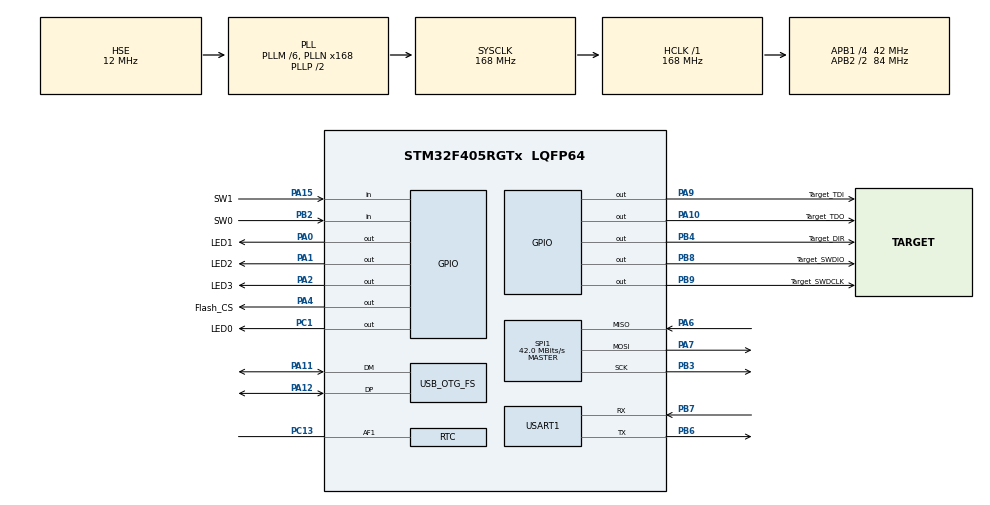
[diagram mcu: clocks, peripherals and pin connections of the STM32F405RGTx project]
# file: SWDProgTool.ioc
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FATFS._CODE_PAGE=936
FATFS._LFN_UNICODE=0
FATFS._USE_LFN=3
Mcu.Family=STM32F4
Mcu.Name=STM32F405RGTx
Mcu.Package=LQFP64
NVIC.OTG_FS_IRQn=true\:0\:0\:false\:false\:true\:false
NVIC.PriorityGroup=NVIC_PRIORITYGROUP_4
PA0-WKUP.GPIO_Label=LED1
PA0-WKUP.Signal=GPIO_Output
PA1.GPIO_Label=LED2
PA1.Signal=GPIO_Output
PA10.GPIO_Label=Target_TDO
PA10.Signal=GPIO_Output
PA11.Mode=Device_Only
PA11.Signal=USB_OTG_FS_DM
PA12.Mode=Device_Only
PA12.Signal=USB_OTG_FS_DP
PA13.Mode=Serial_Wire
PA13.Signal=SYS_JTMS-SWDIO
PA14.Mode=Serial_Wire
PA14.Signal=SYS_JTCK-SWCLK
PA15.GPIO_Label=SW1
PA15.Signal=GPIO_Input
PA2.GPIO_Label=LED3
PA2.Signal=GPIO_Output
PA4.GPIO_Label=Flash_CS
PA4.GPIO_PuPd=GPIO_PULLUP
PA4.GPIO_Speed=GPIO_SPEED_FREQ_VERY_HIGH
PA4.PinState=GPIO_PIN_SET
PA4.Signal=GPIO_Output
PA6.Mode=Full_Duplex_Master
PA6.Signal=SPI1_MISO
PA7.Mode=Full_Duplex_Master
PA7.Signal=SPI1_MOSI
PA9.GPIO_Label=Target_TDI
PA9.Signal=GPIO_Output
PB2.GPIO_Label=SW0
PB2.Signal=GPIO_Input
PB3.Mode=Full_Duplex_Master
PB3.Signal=SPI1_SCK
PB4.GPIO_Label=Target_DIR
PB4.GPIO_PuPd=GPIO_PULLUP
PB4.PinState=GPIO_PIN_SET
PB4.Signal=GPIO_Output
PB6.Mode=Asynchronous
PB6.Signal=USART1_TX
PB7.Mode=Asynchronous
PB7.Signal=USART1_RX
PB8.GPIO_Label=Target_SWDIO
PB8.GPIO_PuPd=GPIO_PULLUP
PB8.Signal=GPIO_Output
PB9.GPIO_Label=Target_SWDCLK
PB9.GPIO_PuPd=GPIO_PULLDOWN
PB9.Signal=GPIO_Output
PC1.GPIO_Label=LED0
PC1.Signal=GPIO_Output
PC13-ANTI_TAMP.Mode=Calibration_1Hz
PC13-ANTI_TAMP.Signal=RTC_AF1
PC14-OSC32_IN.Mode=LSE-External-Oscillator
PC14-OSC32_IN.Signal=RCC_OSC32_IN
PC15-OSC32_OUT.Mode=LSE-External-Oscillator
PC15-OSC32_OUT.Signal=RCC_OSC32_OUT
PH0-OSC_IN.Mode=HSE-External-Oscillator
PH0-OSC_IN.Signal=RCC_OSC_IN
PH1-OSC_OUT.Mode=HSE-External-Oscillator
PH1-OSC_OUT.Signal=RCC_OSC_OUT
ProjectManager.HeapSize=0xA000
ProjectManager.StackSize=0x5000
ProjectManager.TargetToolchain=MDK-ARM V5
RCC.48MHZClocksFreq_Value=48000000
RCC.AHBFreq_Value=168000000
RCC.APB1CLKDivider=RCC_HCLK_DIV4
RCC.APB1Freq_Value=42000000
RCC.APB1TimFreq_Value=84000000
RCC.APB2CLKDivider=RCC_HCLK_DIV2
RCC.APB2Freq_Value=84000000
RCC.APB2TimFreq_Value=168000000
RCC.CortexFreq_Value=168000000
RCC.HCLKFreq_Value=168000000
RCC.HSE_VALUE=12000000
RCC.HSI_VALUE=16000000
RCC.PLLM=6
RCC.PLLN=168
RCC.PLLQ=7
RCC.RCC_MCO1Source=RCC_MCO1SOURCE_LSE
RCC.RCC_RTC_Clock_SourceVirtual=RCC_RTCCLKSOURCE_LSE
RCC.RCC_RTC_Clock_Source_FROM_HSE=RCC_RTCCLKSOURCE_HSE_DIV30
RCC.SYSCLKFreq_VALUE=168000000
RCC.SYSCLKSource=RCC_SYSCLKSOURCE_PLLCLK
RCC.VCOOutputFreq_Value=336000000
SPI1.BaudRatePrescaler=SPI_BAUDRATEPRESCALER_2
SPI1.CalculateBaudRate=42.0 MBits/s
SPI1.Direction=SPI_DIRECTION_2LINES
SPI1.Mode=SPI_MODE_MASTER
SPI1.VirtualType=VM_MASTER
USART1.VirtualMode=VM_ASYNC
USB_DEVICE.CLASS_NAME_FS=MSC
USB_DEVICE.VirtualMode-MSC_FS=Msc
USB_DEVICE.VirtualModeFS=Msc_FS
USB_OTG_FS.VirtualMode=Device_Only
USB_OTG_FS.vbus_sensing_enable=DISABLE
VP_CRC_VS_CRC.Mode=CRC_Activate
VP_FATFS_VS_Generic.Mode=User_defined
VP_RNG_VS_RNG.Mode=RNG_Activate
VP_RTC_VS_RTC_Activate.Mode=RTC_Enabled
VP_USB_DEVICE_VS_USB_DEVICE_MSC_FS.Mode=MSC_FS
board=SWDProgTool

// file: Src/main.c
/**
  ******************************************************************************
  * File Name          : main.c
  * Description        : Main program body
  ******************************************************************************
  * This notice applies to any and all portions of this file
  * that are not between comment pairs USER CODE BEGIN and
  * USER CODE END. Other portions of this file, whether
  * inserted by the user or by software development tools
  * are owned by their respective copyright owners.
  *
  * Copyright (c) 2017 STMicroelectronics International N.V.
  * All rights reserved.
  *
  * Redistribution and use in source and binary forms, with or without
  * modification, are permitted, provided that the following conditions are met:
  *
  * 1. Redistribution of source code must retain the above copyright notice,
  *    this list of conditions and the following disclaimer.
  * 2. Redistributions in binary form must reproduce the above copyright notice,
  *    this list of conditions and the following disclaimer in the documentation
  *    and/or other materials provided with the distribution.
  * 3. Neither the name of STMicroelectronics nor the names of other
  *    contributors to this software may be used to endorse or promote products
  *    derived from this software without specific written permission.
  * 4. This software, including modifications and/or derivative works of this
  *    software, must execute solely and exclusively on microcontroller or
  *    microprocessor devices manufactured by or for STMicroelectronics.
  * 5. Redistribution and use of this software other than as permitted under
  *    this license is void and will automatically terminate your rights under
  *    this license.
  *
  * THIS SOFTWARE IS PROVIDED BY STMICROELECTRONICS AND CONTRIBUTORS "AS IS"
  * AND ANY EXPRESS, IMPLIED OR STATUTORY WARRANTIES, INCLUDING, BUT NOT
  * LIMITED TO, THE IMPLIED WARRANTIES OF MERCHANTABILITY, FITNESS FOR A
  * PARTICULAR PURPOSE AND NON-INFRINGEMENT OF THIRD PARTY INTELLECTUAL PROPERTY
  * RIGHTS ARE DISCLAIMED TO THE FULLEST EXTENT PERMITTED BY LAW. IN NO EVENT
  * SHALL STMICROELECTRONICS OR CONTRIBUTORS BE LIABLE FOR ANY DIRECT, INDIRECT,
  * INCIDENTAL, SPECIAL, EXEMPLARY, OR CONSEQUENTIAL DAMAGES (INCLUDING, BUT NOT
  * LIMITED TO, PROCUREMENT OF SUBSTITUTE GOODS OR SERVICES; LOSS OF USE, DATA,
  * OR PROFITS; OR BUSINESS INTERRUPTION) HOWEVER CAUSED AND ON ANY THEORY OF
  * LIABILITY, WHETHER IN CONTRACT, STRICT LIABILITY, OR TORT (INCLUDING
  * NEGLIGENCE OR OTHERWISE) ARISING IN ANY WAY OUT OF THE USE OF THIS SOFTWARE,
  * EVEN IF ADVISED OF THE POSSIBILITY OF SUCH DAMAGE.
  *
  ******************************************************************************
  */
#include "main.h"
#include "stm32f4xx_hal.h"
#include "fatfs.h"
#include "usb_device.h"

/* USER CODE BEGIN Includes */
#include "sfud.h"
#include "command.h"
#include "target_internal.h"
#include "cortexm.h"
/* USER CODE END Includes */

CRC_HandleTypeDef hcrc;

RNG_HandleTypeDef hrng;

RTC_HandleTypeDef hrtc;

SPI_HandleTypeDef hspi1;

UART_HandleTypeDef huart1;

/* USER CODE BEGIN PV */
/* Private variables ---------------------------------------------------------*/
sfud_flash *hflash1;
/* USER CODE END PV */

void SystemClock_Config(void);
static void MX_GPIO_Init(void);
static void MX_RNG_Init(void);
static void MX_SPI1_Init(void);
static void MX_USART1_UART_Init(void);
static void MX_RTC_Init(void);
static void MX_CRC_Init(void);

/* USER CODE BEGIN PFP */
/* Private function prototypes -----------------------------------------------*/
uint8_t prog_stm32_use_fatfs(uint32_t onceProgSize);
uint8_t gen_bin_file(void);
/* USER CODE END PFP */

int main(void)
{

  /* MCU Configuration----------------------------------------------------------*/

  /* Reset of all peripherals, Initializes the Flash interface and the Systick. */
  HAL_Init();

  /* Configure the system clock */
  SystemClock_Config();

  /* Initialize all configured peripherals */
  MX_GPIO_Init();
  MX_RNG_Init();
  MX_SPI1_Init();
  MX_USART1_UART_Init();
  MX_RTC_Init();
  MX_CRC_Init();
  //MX_USB_DEVICE_Init();
  MX_FATFS_Init();

  /* USER CODE BEGIN 2 */

	sfud_init();
	hflash1 = sfud_get_device(0);

	//sfud_erase_write(hflash1, 0, 0x1000, "Hello, World!");
	//sfud_chip_erase(hflash1);

	printf("\nErase Block Size is %d\n",hflash1->chip.erase_gran);

	HAL_GPIO_WritePin(LED0_GPIO_Port, LED0_Pin, GPIO_PIN_RESET);
	HAL_GPIO_WritePin(LED1_GPIO_Port, LED1_Pin, GPIO_PIN_RESET);
	HAL_GPIO_WritePin(LED2_GPIO_Port, LED2_Pin, GPIO_PIN_RESET);
	HAL_GPIO_WritePin(LED3_GPIO_Port, LED3_Pin, GPIO_PIN_RESET);

	HAL_GPIO_WritePin(LED1_GPIO_Port, LED1_Pin, GPIO_PIN_SET);

	uint8_t progStatus = prog_stm32_use_fatfs(0x800);

	//gen_bin_file();

	HAL_GPIO_WritePin(LED1_GPIO_Port, LED1_Pin, GPIO_PIN_RESET);

	switch (progStatus){
		case 0:
			HAL_GPIO_WritePin(LED3_GPIO_Port, LED3_Pin, GPIO_PIN_SET);
			break;
		case 1:
			HAL_GPIO_WritePin(LED0_GPIO_Port, LED0_Pin, GPIO_PIN_SET);
			break;
		case 2:
			HAL_GPIO_WritePin(LED0_GPIO_Port, LED0_Pin, GPIO_PIN_SET);
			break;
		case 3:
			HAL_GPIO_WritePin(LED0_GPIO_Port, LED0_Pin, GPIO_PIN_SET);
			gen_bin_file();
			break;
		default:
			break;
	}

	MX_USB_DEVICE_Init();
  /* USER CODE END 2 */

  /* Infinite loop */
  while (1)
  {

  /* USER CODE BEGIN 3 */

//		HAL_GPIO_WritePin(LED0_GPIO_Port, LED0_Pin, GPIO_PIN_SET);
//		HAL_Delay(500);
//		HAL_GPIO_WritePin(LED1_GPIO_Port, LED1_Pin, GPIO_PIN_SET);
//		HAL_Delay(500);
//		HAL_GPIO_WritePin(LED2_GPIO_Port, LED2_Pin, GPIO_PIN_SET);
//		HAL_Delay(500);
//		HAL_GPIO_WritePin(LED3_GPIO_Port, LED3_Pin, GPIO_PIN_SET);
//		HAL_Delay(500);
//		HAL_GPIO_WritePin(LED0_GPIO_Port, LED0_Pin, GPIO_PIN_RESET);
//		HAL_Delay(500);
//		HAL_GPIO_WritePin(LED1_GPIO_Port, LED1_Pin, GPIO_PIN_RESET);
//		HAL_Delay(500);
//		HAL_GPIO_WritePin(LED2_GPIO_Port, LED2_Pin, GPIO_PIN_RESET);
//		HAL_Delay(500);
//		HAL_GPIO_WritePin(LED3_GPIO_Port, LED3_Pin, GPIO_PIN_RESET);
//		HAL_Delay(500);

  }

  /* USER CODE END 3 */

}

/** System Clock Configuration
*/
void SystemClock_Config(void)
{

  RCC_OscInitTypeDef RCC_OscInitStruct;
  RCC_ClkInitTypeDef RCC_ClkInitStruct;
  RCC_PeriphCLKInitTypeDef PeriphClkInitStruct;

    /**Configure the main internal regulator output voltage
    */
  __HAL_RCC_PWR_CLK_ENABLE();

  __HAL_PWR_VOLTAGESCALING_CONFIG(PWR_REGULATOR_VOLTAGE_SCALE1);

    /**Initializes the CPU, AHB and APB busses clocks
    */
  RCC_OscInitStruct.OscillatorType = RCC_OSCILLATORTYPE_HSE|RCC_OSCILLATORTYPE_LSE;
  RCC_OscInitStruct.HSEState = RCC_HSE_ON;
  RCC_OscInitStruct.LSEState = RCC_LSE_ON;
  RCC_OscInitStruct.PLL.PLLState = RCC_PLL_ON;
  RCC_OscInitStruct.PLL.PLLSource = RCC_PLLSOURCE_HSE;
  RCC_OscInitStruct.PLL.PLLM = 6;
  RCC_OscInitStruct.PLL.PLLN = 168;
  RCC_OscInitStruct.PLL.PLLP = RCC_PLLP_DIV2;
  RCC_OscInitStruct.PLL.PLLQ = 7;
  if (HAL_RCC_OscConfig(&RCC_OscInitStruct) != HAL_OK)
  {
    _Error_Handler(__FILE__, __LINE__);
  }

    /**Initializes the CPU, AHB and APB busses clocks
    */
  RCC_ClkInitStruct.ClockType = RCC_CLOCKTYPE_HCLK|RCC_CLOCKTYPE_SYSCLK
                              |RCC_CLOCKTYPE_PCLK1|RCC_CLOCKTYPE_PCLK2;
  RCC_ClkInitStruct.SYSCLKSource = RCC_SYSCLKSOURCE_PLLCLK;
  RCC_ClkInitStruct.AHBCLKDivider = RCC_SYSCLK_DIV1;
  RCC_ClkInitStruct.APB1CLKDivider = RCC_HCLK_DIV4;
  RCC_ClkInitStruct.APB2CLKDivider = RCC_HCLK_DIV2;

  if (HAL_RCC_ClockConfig(&RCC_ClkInitStruct, FLASH_LATENCY_5) != HAL_OK)
  {
    _Error_Handler(__FILE__, __LINE__);
  }

  PeriphClkInitStruct.PeriphClockSelection = RCC_PERIPHCLK_RTC;
  PeriphClkInitStruct.RTCClockSelection = RCC_RTCCLKSOURCE_LSE;
  if (HAL_RCCEx_PeriphCLKConfig(&PeriphClkInitStruct) != HAL_OK)
  {
    _Error_Handler(__FILE__, __LINE__);
  }

    /**Configure the Systick interrupt time
    */
  HAL_SYSTICK_Config(HAL_RCC_GetHCLKFreq()/1000);

    /**Configure the Systick
    */
  HAL_SYSTICK_CLKSourceConfig(SYSTICK_CLKSOURCE_HCLK);

  /* SysTick_IRQn interrupt configuration */
  HAL_NVIC_SetPriority(SysTick_IRQn, 0, 0);
}

/* CRC init function */
static void MX_CRC_Init(void)
{

  hcrc.Instance = CRC;
  if (HAL_CRC_Init(&hcrc) != HAL_OK)
  {
    _Error_Handler(__FILE__, __LINE__);
  }

}

/* RNG init function */
static void MX_RNG_Init(void)
{

  hrng.Instance = RNG;
  if (HAL_RNG_Init(&hrng) != HAL_OK)
  {
    _Error_Handler(__FILE__, __LINE__);
  }

}

/* RTC init function */
static void MX_RTC_Init(void)
{

    /**Initialize RTC Only
    */
  hrtc.Instance = RTC;
  hrtc.Init.HourFormat = RTC_HOURFORMAT_24;
  hrtc.Init.AsynchPrediv = 127;
  hrtc.Init.SynchPrediv = 255;
  hrtc.Init.OutPut = RTC_OUTPUT_DISABLE;
  hrtc.Init.OutPutPolarity = RTC_OUTPUT_POLARITY_HIGH;
  hrtc.Init.OutPutType = RTC_OUTPUT_TYPE_OPENDRAIN;
  if (HAL_RTC_Init(&hrtc) != HAL_OK)
  {
    _Error_Handler(__FILE__, __LINE__);
  }

    /**Enable Calibrartion
    */
  if (HAL_RTCEx_SetCalibrationOutPut(&hrtc, RTC_CALIBOUTPUT_1HZ) != HAL_OK)
  {
    _Error_Handler(__FILE__, __LINE__);
  }

}

/* SPI1 init function */
static void MX_SPI1_Init(void)
{

  /* SPI1 parameter configuration*/
  hspi1.Instance = SPI1;
  hspi1.Init.Mode = SPI_MODE_MASTER;
  hspi1.Init.Direction = SPI_DIRECTION_2LINES;
  hspi1.Init.DataSize = SPI_DATASIZE_8BIT;
  hspi1.Init.CLKPolarity = SPI_POLARITY_LOW;
  hspi1.Init.CLKPhase = SPI_PHASE_1EDGE;
  hspi1.Init.NSS = SPI_NSS_SOFT;
  hspi1.Init.BaudRatePrescaler = SPI_BAUDRATEPRESCALER_2;
  hspi1.Init.FirstBit = SPI_FIRSTBIT_MSB;
  hspi1.Init.TIMode = SPI_TIMODE_DISABLE;
  hspi1.Init.CRCCalculation = SPI_CRCCALCULATION_DISABLE;
  hspi1.Init.CRCPolynomial = 10;
  if (HAL_SPI_Init(&hspi1) != HAL_OK)
  {
    _Error_Handler(__FILE__, __LINE__);
  }

}

/* USART1 init function */
static void MX_USART1_UART_Init(void)
{

  huart1.Instance = USART1;
  huart1.Init.BaudRate = 115200;
  huart1.Init.WordLength = UART_WORDLENGTH_8B;
  huart1.Init.StopBits = UART_STOPBITS_1;
  huart1.Init.Parity = UART_PARITY_NONE;
  huart1.Init.Mode = UART_MODE_TX_RX;
  huart1.Init.HwFlowCtl = UART_HWCONTROL_NONE;
  huart1.Init.OverSampling = UART_OVERSAMPLING_16;
  if (HAL_UART_Init(&huart1) != HAL_OK)
  {
    _Error_Handler(__FILE__, __LINE__);
  }

}

/** Configure pins as
        * Analog
        * Input
        * Output
        * EVENT_OUT
        * EXTI
*/
static void MX_GPIO_Init(void)
{

  GPIO_InitTypeDef GPIO_InitStruct;

  /* GPIO Ports Clock Enable */
  __HAL_RCC_GPIOC_CLK_ENABLE();
  __HAL_RCC_GPIOH_CLK_ENABLE();
  __HAL_RCC_GPIOA_CLK_ENABLE();
  __HAL_RCC_GPIOB_CLK_ENABLE();

  /*Configure GPIO pin Output Level */
  HAL_GPIO_WritePin(LED0_GPIO_Port, LED0_Pin, GPIO_PIN_RESET);

  /*Configure GPIO pin Output Level */
  HAL_GPIO_WritePin(GPIOA, LED1_Pin|LED2_Pin|LED3_Pin|Target_TDI_Pin
                          |Target_TDO_Pin, GPIO_PIN_RESET);

  /*Configure GPIO pin Output Level */
  HAL_GPIO_WritePin(Flash_CS_GPIO_Port, Flash_CS_Pin, GPIO_PIN_SET);

  /*Configure GPIO pin Output Level */
  HAL_GPIO_WritePin(Target_DIR_GPIO_Port, Target_DIR_Pin, GPIO_PIN_SET);

  /*Configure GPIO pin Output Level */
  HAL_GPIO_WritePin(GPIOB, Target_SWDIO_Pin|Target_SWDCLK_Pin, GPIO_PIN_RESET);

  /*Configure GPIO pin : LED0_Pin */
  GPIO_InitStruct.Pin = LED0_Pin;
  GPIO_InitStruct.Mode = GPIO_MODE_OUTPUT_PP;
  GPIO_InitStruct.Pull = GPIO_NOPULL;
  GPIO_InitStruct.Speed = GPIO_SPEED_FREQ_LOW;
  HAL_GPIO_Init(LED0_GPIO_Port, &GPIO_InitStruct);

  /*Configure GPIO pins : LED1_Pin LED2_Pin LED3_Pin Target_TDI_Pin
                           Target_TDO_Pin */
  GPIO_InitStruct.Pin = LED1_Pin|LED2_Pin|LED3_Pin|Target_TDI_Pin
                          |Target_TDO_Pin;
  GPIO_InitStruct.Mode = GPIO_MODE_OUTPUT_PP;
  GPIO_InitStruct.Pull = GPIO_NOPULL;
  GPIO_InitStruct.Speed = GPIO_SPEED_FREQ_LOW;
  HAL_GPIO_Init(GPIOA, &GPIO_InitStruct);

  /*Configure GPIO pin : Flash_CS_Pin */
  GPIO_InitStruct.Pin = Flash_CS_Pin;
  GPIO_InitStruct.Mode = GPIO_MODE_OUTPUT_PP;
  GPIO_InitStruct.Pull = GPIO_PULLUP;
  GPIO_InitStruct.Speed = GPIO_SPEED_FREQ_VERY_HIGH;
  HAL_GPIO_Init(Flash_CS_GPIO_Port, &GPIO_InitStruct);

  /*Configure GPIO pin : SW0_Pin */
  GPIO_InitStruct.Pin = SW0_Pin;
  GPIO_InitStruct.Mode = GPIO_MODE_INPUT;
  GPIO_InitStruct.Pull = GPIO_NOPULL;
  HAL_GPIO_Init(SW0_GPIO_Port, &GPIO_InitStruct);

  /*Configure GPIO pin : SW1_Pin */
  GPIO_InitStruct.Pin = SW1_Pin;
  GPIO_InitStruct.Mode = GPIO_MODE_INPUT;
  GPIO_InitStruct.Pull = GPIO_NOPULL;
  HAL_GPIO_Init(SW1_GPIO_Port, &GPIO_InitStruct);

  /*Configure GPIO pins : Target_DIR_Pin Target_SWDIO_Pin */
  GPIO_InitStruct.Pin = Target_DIR_Pin|Target_SWDIO_Pin;
  GPIO_InitStruct.Mode = GPIO_MODE_OUTPUT_PP;
  GPIO_InitStruct.Pull = GPIO_PULLUP;
  GPIO_InitStruct.Speed = GPIO_SPEED_FREQ_LOW;
  HAL_GPIO_Init(GPIOB, &GPIO_InitStruct);

  /*Configure GPIO pin : Target_SWDCLK_Pin */
  GPIO_InitStruct.Pin = Target_SWDCLK_Pin;
  GPIO_InitStruct.Mode = GPIO_MODE_OUTPUT_PP;
  GPIO_InitStruct.Pull = GPIO_PULLDOWN;
  GPIO_InitStruct.Speed = GPIO_SPEED_FREQ_LOW;
  HAL_GPIO_Init(Target_SWDCLK_GPIO_Port, &GPIO_InitStruct);

}

/* USER CODE BEGIN 4 */

uint8_t prog_stm32_use_fatfs(uint32_t onceProgSize)
{

	FATFS *fs = &USERFatFS;
	FRESULT res;
	DWORD fre_clust;
	FIL fwfile;
	FILINFO fwfileinfo;
	DIR dir;
	char fwfilepath[16];
	UINT fwReadByte;

	uint8_t returnvalue = 0;

	res = f_mount(fs, USERPath, 1);
  if (res != FR_OK)
  {
    printf("FAILED: %d\n",res);
	}
  else
		printf("MOUNT OK\n");

	res = f_getfree(USERPath,&fre_clust,&fs);         /* Get Number of Free Clusters */
	if (res == FR_OK)
	{
	                                             /* Print free space in unit of MB (assuming 512 bytes/sector) */
        printf("%.1f KB Total Drive Space.\n"
               "%.1f KB Available Space.\n",
               ((fs->n_fatent-2)*fs->csize)/2.0,(fre_clust*fs->csize)/2.0);
	}
	else
	{
		printf("get disk info error\n");
		printf("error code: %d\n",res);
	}

	res = f_opendir(&dir, "/");                       /* Open the directory */
	if (res == FR_OK) {
		for (;;) {
				res = f_readdir(&dir, &fwfileinfo);                   /* Read a directory item */
				if (res != FR_OK || fwfileinfo.fname[0] == 0) {
					printf(".BIN File Not Found\n");
					break;  /* Break on error or end of dir */
				}
				if (fwfileinfo.fattrib & AM_DIR) {                    /* It is a directory */

				} else {                                       /* It is a file. */
						printf("%s%s  %lu Bytes\n", USERPath, fwfileinfo.fname, fwfileinfo.fsize);
						if(strstr(fwfileinfo.fname, ".BIN") != NULL) /* Find .BIN File */
							break;
				}
			}
			res = f_open(&fwfile, fwfileinfo.fname, FA_READ);

		} else {
			printf("open path ERROR\n");
		}

	printf("Start program target device.\n");

	cmd_swdp_scan();

	if(fwfileinfo.fname[0] != 0)
	{
		if(target_list != NULL)
		{
			cortexm_halt_request(target_list);
			cortexm_halt_on_reset_request(target_list);
			cortexm_reset(target_list);

			f_lseek(&fwfile, 0);
			uint8_t *fwbuff = malloc(onceProgSize);
			uint8_t *fwVerifyBuff = malloc(onceProgSize);
			uint8_t chkres;
			target_flash_erase(target_list,0x08000000, (fwfileinfo.fsize + 0x7FF) & ~0x7FF);
			uint32_t targetWriteOffset = 0;
			for(;;)
			{
				f_read(&fwfile, fwbuff, onceProgSize, &fwReadByte);
				if(fwReadByte == 0)
					break;
				if((fwReadByte & 0x03) !=0)
				{
					uint32_t AlignedByte = ((fwReadByte + 0x03) & ~0x03);
					for(;fwReadByte < AlignedByte;fwReadByte++)
						fwbuff[fwReadByte] = 0xFF;
				}
				target_flash_write(target_list,0x08000000 + targetWriteOffset, (const void *)fwbuff, fwReadByte);

				target_mem_read(target_list, (void *)fwVerifyBuff, 0x08000000 + targetWriteOffset, fwReadByte);
				chkres = strncmp(fwbuff, fwVerifyBuff, fwReadByte);
				if(chkres != 0)
					break;
				targetWriteOffset += fwReadByte;
			}
			free(fwbuff);
			free(fwVerifyBuff);

			cortexm_halt_on_reset_clear(target_list);
			cortexm_reset(target_list);
			if(chkres == 0)
			{
				printf("Program target device Complete!\n");
				returnvalue = 0;
			} else {
				printf("Traget Device Verify ERROR.\n");
				returnvalue = 1;
				}
		} else {
		printf("Connect to target Fail.\n");
		returnvalue = 2;
		}
	}	else {
		printf("Can't find bin file.\n");
		returnvalue = 3;
	}
	f_close(&fwfile);
	f_closedir(&dir);
	return returnvalue;
}

uint8_t gen_bin_file(void){
	FATFS *fs = &USERFatFS;
	FRESULT res;
	DWORD fre_clust;
	FIL fwfile;
	FIL fwbinfile;
	FILINFO fwfileinfo;
	DIR dir;
	char fwfilepath[16];
	UINT fwReadByte;

	uint8_t returnvalue = 0;

	res = f_mount(fs, USERPath, 1);

	res = f_opendir(&dir, "/");                       /* Open the directory */
	for (;;) {
		res = f_readdir(&dir, &fwfileinfo);                   /* Read a directory item */
		if (res != FR_OK || fwfileinfo.fname[0] == 0) {
			printf(".HEX File Not Found\n");
			break;  /* Break on error or end of dir */
		}
		if (fwfileinfo.fattrib & AM_DIR) {                    /* It is a directory */

		} else {                                       /* It is a file. */
				printf("%s%s  %lu Bytes\n", USERPath, fwfileinfo.fname, fwfileinfo.fsize);
				if(strstr(fwfileinfo.fname, ".HEX") != NULL) /* Find .HEX File */
					break;
		}
	}
	if(fwfileinfo.fname[0] != 0)
		{
		f_open(&fwfile, fwfileinfo.fname, FA_READ);
		f_open(&fwbinfile, "TAR.BIN", FA_CREATE_ALWAYS | FA_WRITE);

		char buf[64];
		char fir[4]="   \n";
		char len, flag;

		while(f_gets(buf,64,&fwfile) != NULL)
		{
			len = strlen(buf);
			if (len < 21)
			{
				continue;
			}
			buf[len-1] = '\0';
			for (int i = 9; i < len-3; i+=2)
			{

				fir[0] = buf[i];
				fir[1] = buf[i+1];

				sscanf(fir,"%x",&flag);

				unsigned int writebyte;
				f_write (&fwbinfile,	(const void *)&flag,	1, &writebyte);

				//f_putc( (const char)flag, &fwbinfile); //use f_write inside of f_putc to avoid LF->CRLF conv.

			}
			//f_printf(&fwbinfile, "%016b", 0x550F);       /* "0101010100001111" */

			printf("%s %d \n",buf,len - 1);
		}

		f_close(&fwfile);
		f_close(&fwbinfile);
	}
	f_closedir(&dir);

}

/* USER CODE END 4 */

void _Error_Handler(char * file, int line)
{
  while(1)
  {
  }
}

/************************ (C) COPYRIGHT STMicroelectronics *****END OF FILE****/
